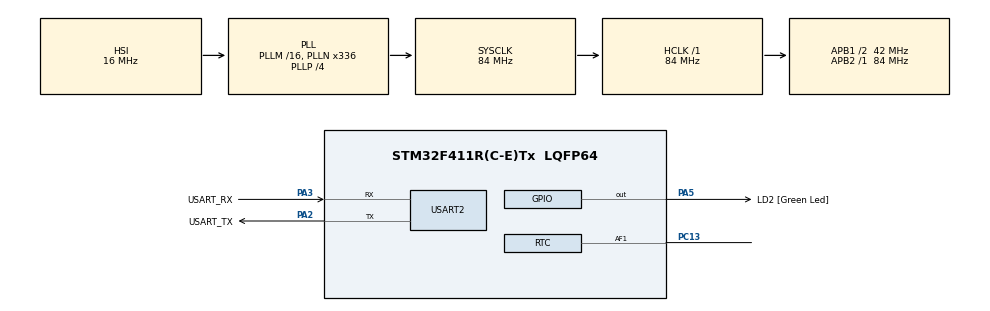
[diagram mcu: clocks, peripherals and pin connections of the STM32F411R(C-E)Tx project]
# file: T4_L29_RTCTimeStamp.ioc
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Mcu.Family=STM32F4
Mcu.Name=STM32F411R(C-E)Tx
Mcu.Package=LQFP64
NVIC.PriorityGroup=NVIC_PRIORITYGROUP_0
NVIC.TAMP_STAMP_IRQn=true\:0\:0\:false\:true\:true\:1\:true\:true
PA13.GPIO_Label=TMS
PA13.Mode=Serial_Wire
PA13.Signal=SYS_JTMS-SWDIO
PA14.GPIO_Label=TCK
PA14.Mode=Serial_Wire
PA14.Signal=SYS_JTCK-SWCLK
PA2.GPIO_Label=USART_TX
PA2.Mode=Asynchronous
PA2.Signal=USART2_TX
PA3.GPIO_Label=USART_RX
PA3.Mode=Asynchronous
PA3.Signal=USART2_RX
PA5.GPIO_Label=LD2 [Green Led]
PA5.Signal=GPIO_Output
PB3.GPIO_Label=SWO
PB3.Signal=SYS_JTDO-SWO
PC13-ANTI_TAMP.Mode=Timestamp enabled - Input Enabled to AF1
PC13-ANTI_TAMP.Signal=RTC_AF1
PC14-OSC32_IN.Mode=LSE-External-Oscillator
PC14-OSC32_IN.Signal=RCC_OSC32_IN
PC15-OSC32_OUT.Mode=LSE-External-Oscillator
PC15-OSC32_OUT.Signal=RCC_OSC32_OUT
PH0\ -\ OSC_IN.Mode=HSE-External-Clock-Source
PH0\ -\ OSC_IN.Signal=RCC_OSC_IN
PH1\ -\ OSC_OUT.Mode=HSE-External-Clock-Source
PH1\ -\ OSC_OUT.Signal=RCC_OSC_OUT
ProjectManager.HeapSize=0x200
ProjectManager.StackSize=0x400
ProjectManager.TargetToolchain=STM32CubeIDE
RCC.48MHZClocksFreq_Value=84000000
RCC.AHBFreq_Value=84000000
RCC.APB1CLKDivider=RCC_HCLK_DIV2
RCC.APB1Freq_Value=42000000
RCC.APB1TimFreq_Value=84000000
RCC.APB2Freq_Value=84000000
RCC.APB2TimFreq_Value=84000000
RCC.CortexFreq_Value=84000000
RCC.FLatency-AdvancedSettings=FLASH_LATENCY_2
RCC.HCLKFreq_Value=84000000
RCC.HSE_VALUE=8000000
RCC.HSI_VALUE=16000000
RCC.PLLN=336
RCC.PLLP=RCC_PLLP_DIV4
RCC.SYSCLKFreq_VALUE=84000000
RCC.SYSCLKSource=RCC_SYSCLKSOURCE_PLLCLK
RCC.VCOOutputFreq_Value=336000000
RTC.Format=RTC_FORMAT_BIN
RTC.TimeStampEdge=RTC_TIMESTAMPEDGE_RISING
RTC.TimeStampPin=RTC_TIMESTAMPPIN_DEFAULT
USART2.VirtualMode=VM_ASYNC
VP_RTC_VS_RTC_Activate.Mode=RTC_Enabled
VP_RTC_VS_RTC_Calendar.Mode=RTC_Calendar
board=NUCLEO-F411RE

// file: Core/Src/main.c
/* USER CODE BEGIN Header */
/**
  ******************************************************************************
  * @file           : main.c
  * @brief          : Main program body
  ******************************************************************************
  * @attention
  *
  * <h2><center>&copy; Copyright (c) 2021 STMicroelectronics.
  * All rights reserved.</center></h2>
  *
  * This software component is licensed by ST under BSD 3-Clause license,
  * the "License"; You may not use this file except in compliance with the
  * License. You may obtain a copy of the License at:
  *                        opensource.org/licenses/BSD-3-Clause
  *
  ******************************************************************************
  */
/* USER CODE END Header */
#include "main.h"
#include "rtc.h"
#include "usart.h"
#include "gpio.h"

/* USER CODE BEGIN Includes */
#include "stdio.h"
/* USER CODE END Includes */

/* USER CODE BEGIN PV */
RTC_TimeTypeDef RtcTime;
RTC_DateTypeDef RtcDate;

RTC_TimeTypeDef RtcTimeTimeStamp;
RTC_DateTypeDef RtcDateTimeStamp;

uint8_t CompareSeconds;
uint8_t Message[128];
uint8_t MesLen;

volatile _Bool TimerStampFlag = 0;
/* USER CODE END PV */

void SystemClock_Config(void);
static void MX_NVIC_Init(void);

int main(void)
{

  /* MCU Configuration--------------------------------------------------------*/

  /* Reset of all peripherals, Initializes the Flash interface and the Systick. */
  HAL_Init();

  /* Configure the system clock */
  SystemClock_Config();

  /* Initialize all configured peripherals */
  MX_GPIO_Init();
  MX_USART2_UART_Init();
  MX_RTC_Init();

  /* Initialize interrupts */
  MX_NVIC_Init();
  /* USER CODE BEGIN 2 */
  if (HAL_RTCEx_SetTimeStamp_IT(&hrtc, RTC_TIMESTAMPEDGE_RISING, RTC_TIMESTAMPPIN_DEFAULT) != HAL_OK)
  {
	  Error_Handler();
  }
  /* USER CODE END 2 */

  /* Infinite loop */
  /* USER CODE BEGIN WHILE */
  while (1)
  {
	  HAL_RTC_GetTime(&hrtc, &RtcTime, RTC_FORMAT_BIN);
	  HAL_RTC_GetDate(&hrtc, &RtcDate, RTC_FORMAT_BIN);

	  if(RtcTime.Seconds != CompareSeconds)
	  {
	  	  MesLen = sprintf((char*)Message,"Date: %02d.%02d.20%02d Time: %02d:%02d:%02d\n\r", RtcDate.Date, RtcDate.Month, RtcDate.Year, RtcTime.Hours, RtcTime.Minutes, RtcTime.Seconds);
	  	  HAL_UART_Transmit(&huart2, (uint8_t*)Message, MesLen, 1000);
	  	  CompareSeconds = RtcTime.Seconds;
	  }

	  if(TimerStampFlag == 1)
	  {
			MesLen = sprintf((char*)Message,"DateStamp: %02d.%02d.20%02d Time: %02d:%02d:%02d\n\r", RtcDateTimeStamp.Date, RtcDateTimeStamp.Month, RtcDateTimeStamp.Year, RtcTimeTimeStamp.Hours, RtcTimeTimeStamp.Minutes, RtcTimeTimeStamp.Seconds);
			HAL_UART_Transmit(&huart2, (uint8_t*)Message, MesLen, 1000);
			TimerStampFlag = 0;
	  }
    /* USER CODE END WHILE */

  }
}

void SystemClock_Config(void)
{
  RCC_OscInitTypeDef RCC_OscInitStruct = {0};
  RCC_ClkInitTypeDef RCC_ClkInitStruct = {0};
  RCC_PeriphCLKInitTypeDef PeriphClkInitStruct = {0};

  /** Configure the main internal regulator output voltage
  */
  __HAL_RCC_PWR_CLK_ENABLE();
  __HAL_PWR_VOLTAGESCALING_CONFIG(PWR_REGULATOR_VOLTAGE_SCALE1);
  /** Initializes the RCC Oscillators according to the specified parameters
  * in the RCC_OscInitTypeDef structure.
  */
  RCC_OscInitStruct.OscillatorType = RCC_OSCILLATORTYPE_HSI|RCC_OSCILLATORTYPE_LSI;
  RCC_OscInitStruct.HSIState = RCC_HSI_ON;
  RCC_OscInitStruct.HSICalibrationValue = RCC_HSICALIBRATION_DEFAULT;
  RCC_OscInitStruct.LSIState = RCC_LSI_ON;
  RCC_OscInitStruct.PLL.PLLState = RCC_PLL_ON;
  RCC_OscInitStruct.PLL.PLLSource = RCC_PLLSOURCE_HSI;
  RCC_OscInitStruct.PLL.PLLM = 16;
  RCC_OscInitStruct.PLL.PLLN = 336;
  RCC_OscInitStruct.PLL.PLLP = RCC_PLLP_DIV4;
  RCC_OscInitStruct.PLL.PLLQ = 4;
  if (HAL_RCC_OscConfig(&RCC_OscInitStruct) != HAL_OK)
  {
    Error_Handler();
  }
  /** Initializes the CPU, AHB and APB buses clocks
  */
  RCC_ClkInitStruct.ClockType = RCC_CLOCKTYPE_HCLK|RCC_CLOCKTYPE_SYSCLK
                              |RCC_CLOCKTYPE_PCLK1|RCC_CLOCKTYPE_PCLK2;
  RCC_ClkInitStruct.SYSCLKSource = RCC_SYSCLKSOURCE_PLLCLK;
  RCC_ClkInitStruct.AHBCLKDivider = RCC_SYSCLK_DIV1;
  RCC_ClkInitStruct.APB1CLKDivider = RCC_HCLK_DIV2;
  RCC_ClkInitStruct.APB2CLKDivider = RCC_HCLK_DIV1;

  if (HAL_RCC_ClockConfig(&RCC_ClkInitStruct, FLASH_LATENCY_2) != HAL_OK)
  {
    Error_Handler();
  }
  PeriphClkInitStruct.PeriphClockSelection = RCC_PERIPHCLK_RTC;
  PeriphClkInitStruct.RTCClockSelection = RCC_RTCCLKSOURCE_LSI;
  if (HAL_RCCEx_PeriphCLKConfig(&PeriphClkInitStruct) != HAL_OK)
  {
    Error_Handler();
  }
}

/**
  * @brief NVIC Configuration.
  * @retval None
  */
static void MX_NVIC_Init(void)
{
  /* TAMP_STAMP_IRQn interrupt configuration */
  HAL_NVIC_SetPriority(TAMP_STAMP_IRQn, 0, 0);
  HAL_NVIC_EnableIRQ(TAMP_STAMP_IRQn);
}

/* USER CODE BEGIN 4 */
void HAL_RTCEx_TimeStampEventCallback(RTC_HandleTypeDef *hrtc)
{
	HAL_RTCEx_GetTimeStamp(hrtc, &RtcTimeTimeStamp, &RtcDateTimeStamp, RTC_FORMAT_BIN);
	TimerStampFlag = 1;
}
/* USER CODE END 4 */

void Error_Handler(void)
{
  __disable_irq();
  while (1)
  {
  }
}

/************************ (C) COPYRIGHT STMicroelectronics *****END OF FILE****/
